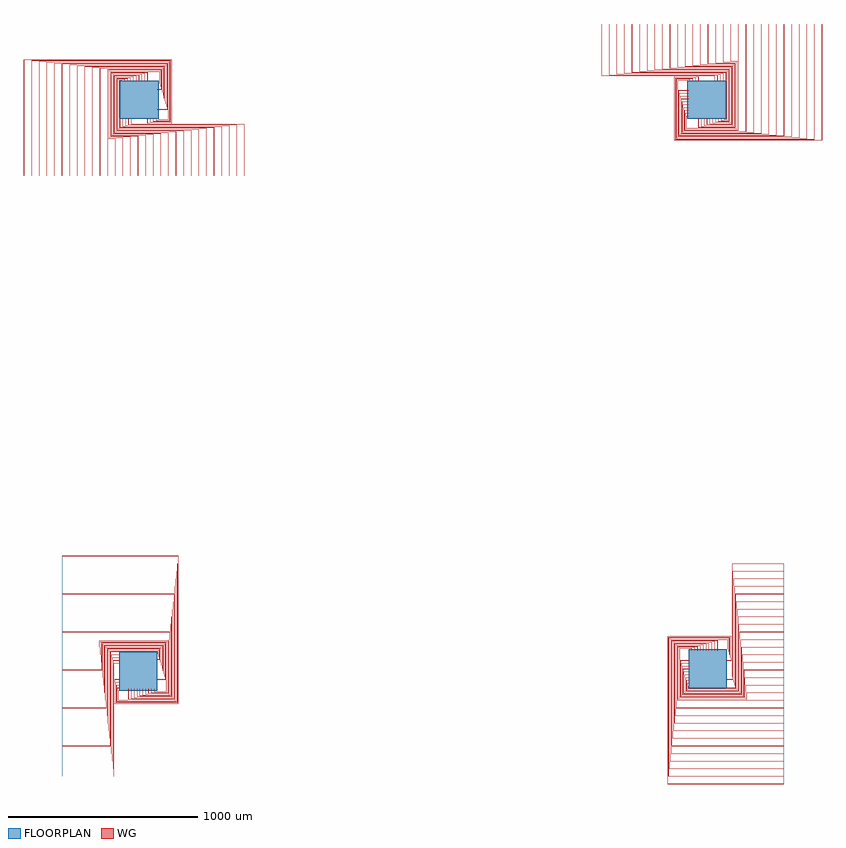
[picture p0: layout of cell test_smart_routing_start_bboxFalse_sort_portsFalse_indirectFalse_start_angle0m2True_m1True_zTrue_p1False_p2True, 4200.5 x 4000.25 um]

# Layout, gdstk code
import gdstk
lib = gdstk.Library(unit=1e-6, precision=1e-09)
def R(c, l, rs):  # rectangles x0, y0, x1, y1
    for r in rs: c.add(gdstk.rectangle(r[:2], r[2:], *l))
def P(c, l, *ps):  # polygons
    for p in ps: c.add(gdstk.Polygon(p, *l))
WG = (1, 0)
FLOORPLAN = (10, 0)

test_smart_routing_start = lib.new_cell('test_smart_routing_start_bboxFalse_sort_portsFalse_indirectFalse_start_angle0m2True_m1True_zTrue_p1False_p2True')
P(test_smart_routing_start, WG, [(2822.25,2787.5),(2822.25,3122.5),(2950.25,3122.5),(2950.25,3100),(2949.75,3100),(2949.75,3122),(2822.75,3122),(2822.75,2788),(3599.75,2788),(3599.75,3400),(3600.25,3400),(3600.25,2787.5)],
  [(2826.75,2792),(2826.75,3118),(2935.25,3118),(2935.25,3100),(2934.75,3100),(2934.75,3117.5),(2827.25,3117.5),(2827.25,2792.5),(3559.75,2792.5),(3559.75,3400),(3560.25,3400),(3560.25,2792)],
  [(2831.25,2796.5),(2831.25,3113.5),(2920.25,3113.5),(2920.25,3100),(2919.75,3100),(2919.75,3113),(2831.75,3113),(2831.75,2797),(3519.75,2797),(3519.75,3400),(3520.25,3400),(3520.25,2796.5)],
  [(2835.75,2801),(2835.75,3109),(2905.25,3109),(2905.25,3100),(2904.75,3100),(2904.75,3108.5),(2836.25,3108.5),(2836.25,2801.5),(3479.75,2801.5),(3479.75,3400),(3480.25,3400),(3480.25,2801)],
  [(2840.25,2805.5),(2840.25,3104.5),(2890.25,3104.5),(2890.25,3100),(2889.75,3100),(2889.75,3104),(2840.75,3104),(2840.75,2806),(3439.75,2806),(3439.75,3400),(3440.25,3400),(3440.25,2805.5)],
  [(2844.75,2810),(2844.75,3050.25),(2900,3050.25),(2900,3049.75),(2845.25,3049.75),(2845.25,2810.5),(3399.75,2810.5),(3399.75,3400),(3400.25,3400),(3400.25,2810)],
  [(2849.25,2814.5),(2849.25,3035.25),(2900,3035.25),(2900,3034.75),(2849.75,3034.75),(2849.75,2815),(3359.75,2815),(3359.75,3400),(3360.25,3400),(3360.25,2814.5)],
  [(2853.75,2819),(2853.75,3020.25),(2900,3020.25),(2900,3019.75),(2854.25,3019.75),(2854.25,2819.5),(3319.75,2819.5),(3319.75,3400),(3320.25,3400),(3320.25,2819)],
  [(2858.25,2823.5),(2858.25,3005.25),(2900,3005.25),(2900,3004.75),(2858.75,3004.75),(2858.75,2824),(3279.75,2824),(3279.75,3400),(3280.25,3400),(3280.25,2823.5)],
  [(2862.75,2828),(2862.75,2990.25),(2900,2990.25),(2900,2989.75),(2863.25,2989.75),(2863.25,2828.5),(3239.75,2828.5),(3239.75,3400),(3240.25,3400),(3240.25,2828)],
  [(2867.25,2832.5),(2867.25,2975.25),(2900,2975.25),(2900,2974.75),(2867.75,2974.75),(2867.75,2833),(3199.75,2833),(3199.75,3400),(3200.25,3400),(3200.25,2832.5)],
  [(2871.75,2837),(2871.75,2960.25),(2900,2960.25),(2900,2959.75),(2872.25,2959.75),(2872.25,2837.5),(3159.75,2837.5),(3159.75,3400),(3160.25,3400),(3160.25,2837)],
  [(2876.25,2841.5),(2876.25,2945.25),(2900,2945.25),(2900,2944.75),(2876.75,2944.75),(2876.75,2842),(3153.25,2842),(3153.25,3203),(3119.75,3203),(3119.75,3400),(3120.25,3400),(3120.25,3203.5),(3153.75,3203.5),(3153.75,2841.5)],
  [(2880.75,2846),(2880.75,2930.25),(2900,2930.25),(2900,2929.75),(2881.25,2929.75),(2881.25,2846.5),(3148.75,2846.5),(3148.75,3198.5),(3079.75,3198.5),(3079.75,3400),(3080.25,3400),(3080.25,3199),(3149.25,3199),(3149.25,2846)],
  [(2885.25,2850.5),(2885.25,2915.25),(2900,2915.25),(2900,2914.75),(2885.75,2914.75),(2885.75,2851),(3144.25,2851),(3144.25,3194),(3039.75,3194),(3039.75,3400),(3040.25,3400),(3040.25,3194.5),(3144.75,3194.5),(3144.75,2850.5)],
  [(2949.75,2855),(2949.75,2900),(2950.25,2900),(2950.25,2855.5),(3139.75,2855.5),(3139.75,3189.5),(2999.75,3189.5),(2999.75,3400),(3000.25,3400),(3000.25,3190),(3140.25,3190),(3140.25,2855)],
  [(2964.75,2859.5),(2964.75,2900),(2965.25,2900),(2965.25,2860),(3135.25,2860),(3135.25,3185),(2959.75,3185),(2959.75,3400),(2960.25,3400),(2960.25,3185.5),(3135.75,3185.5),(3135.75,2859.5)],
  [(2979.75,2864),(2979.75,2900),(2980.25,2900),(2980.25,2864.5),(3130.75,2864.5),(3130.75,3180.5),(2919.75,3180.5),(2919.75,3400),(2920.25,3400),(2920.25,3181),(3131.25,3181),(3131.25,2864)],
  [(2994.75,2868.5),(2994.75,2900),(2995.25,2900),(2995.25,2869),(3126.25,2869),(3126.25,3176),(2879.75,3176),(2879.75,3400),(2880.25,3400),(2880.25,3176.5),(3126.75,3176.5),(3126.75,2868.5)],
  [(3009.75,2873),(3009.75,2900),(3010.25,2900),(3010.25,2873.5),(3121.75,2873.5),(3121.75,3171.5),(2839.75,3171.5),(2839.75,3400),(2840.25,3400),(2840.25,3172),(3122.25,3172),(3122.25,2873)],
  [(3024.75,2877.5),(3024.75,2900),(3025.25,2900),(3025.25,2878),(3117.25,2878),(3117.25,3167),(2799.75,3167),(2799.75,3400),(2800.25,3400),(2800.25,3167.5),(3117.75,3167.5),(3117.75,2877.5)],
  [(3039.75,2882),(3039.75,2900),(3040.25,2900),(3040.25,2882.5),(3112.75,2882.5),(3112.75,3162.5),(2759.75,3162.5),(2759.75,3400),(2760.25,3400),(2760.25,3163),(3113.25,3163),(3113.25,2882)],
  [(3054.75,2886.5),(3054.75,2900),(3055.25,2900),(3055.25,2887),(3108.25,2887),(3108.25,3158),(2719.75,3158),(2719.75,3400),(2720.25,3400),(2720.25,3158.5),(3108.75,3158.5),(3108.75,2886.5)],
  [(3069.75,2891),(3069.75,2900),(3070.25,2900),(3070.25,2891.5),(3103.75,2891.5),(3103.75,3153.5),(2679.75,3153.5),(2679.75,3400),(2680.25,3400),(2680.25,3154),(3104.25,3154),(3104.25,2891)],
  [(3084.75,2895.5),(3084.75,2900),(3085.25,2900),(3085.25,2896),(3099.25,2896),(3099.25,3149),(2639.75,3149),(2639.75,3400),(2640.25,3400),(2640.25,3149.5),(3099.75,3149.5),(3099.75,2895.5)],
  [(3034.75,3100),(3034.75,3126.5),(2439.75,3126.5),(2439.75,3400),(2440.25,3400),(2440.25,3127),(3035.25,3127),(3035.25,3100)],
  [(3049.75,3100),(3049.75,3131),(2479.75,3131),(2479.75,3400),(2480.25,3400),(2480.25,3131.5),(3050.25,3131.5),(3050.25,3100)],
  [(3064.75,3100),(3064.75,3135.5),(2519.75,3135.5),(2519.75,3400),(2520.25,3400),(2520.25,3136),(3065.25,3136),(3065.25,3100)],
  [(3079.75,3100),(3079.75,3140),(2559.75,3140),(2559.75,3400),(2560.25,3400),(2560.25,3140.5),(3080.25,3140.5),(3080.25,3100)],
  [(3094.75,3100),(3094.75,3144.5),(2599.75,3144.5),(2599.75,3400),(2600.25,3400),(2600.25,3145),(3095.25,3145),(3095.25,3100)],
  [(-600.25,2600),(-600.25,3212.5),(177.75,3212.5),(177.75,2877.5),(49.75,2877.5),(49.75,2900),(50.25,2900),(50.25,2878),(177.25,2878),(177.25,3212),(-599.75,3212),(-599.75,2600)],
  [(-560.25,2600),(-560.25,3208),(173.25,3208),(173.25,2882),(64.75,2882),(64.75,2900),(65.25,2900),(65.25,2882.5),(172.75,2882.5),(172.75,3207.5),(-559.75,3207.5),(-559.75,2600)],
  [(-520.25,2600),(-520.25,3203.5),(168.75,3203.5),(168.75,2886.5),(79.75,2886.5),(79.75,2900),(80.25,2900),(80.25,2887),(168.25,2887),(168.25,3203),(-519.75,3203),(-519.75,2600)],
  [(-480.25,2600),(-480.25,3199),(164.25,3199),(164.25,2891),(94.75,2891),(94.75,2900),(95.25,2900),(95.25,2891.5),(163.75,2891.5),(163.75,3198.5),(-479.75,3198.5),(-479.75,2600)],
  [(-440.25,2600),(-440.25,3194.5),(159.75,3194.5),(159.75,2895.5),(109.75,2895.5),(109.75,2900),(110.25,2900),(110.25,2896),(159.25,2896),(159.25,3194),(-439.75,3194),(-439.75,2600)],
  [(-400.25,2600),(-400.25,3190),(155.25,3190),(155.25,2949.75),(100,2949.75),(100,2950.25),(154.75,2950.25),(154.75,3189.5),(-399.75,3189.5),(-399.75,2600)],
  [(-360.25,2600),(-360.25,3185.5),(150.75,3185.5),(150.75,2964.75),(100,2964.75),(100,2965.25),(150.25,2965.25),(150.25,3185),(-359.75,3185),(-359.75,2600)],
  [(-320.25,2600),(-320.25,3181),(146.25,3181),(146.25,2979.75),(100,2979.75),(100,2980.25),(145.75,2980.25),(145.75,3180.5),(-319.75,3180.5),(-319.75,2600)],
  [(-280.25,2600),(-280.25,3176.5),(141.75,3176.5),(141.75,2994.75),(100,2994.75),(100,2995.25),(141.25,2995.25),(141.25,3176),(-279.75,3176),(-279.75,2600)],
  [(-240.25,2600),(-240.25,3172),(137.25,3172),(137.25,3009.75),(100,3009.75),(100,3010.25),(136.75,3010.25),(136.75,3171.5),(-239.75,3171.5),(-239.75,2600)],
  [(-200.25,2600),(-200.25,3167.5),(132.75,3167.5),(132.75,3024.75),(100,3024.75),(100,3025.25),(132.25,3025.25),(132.25,3167),(-199.75,3167),(-199.75,2600)],
  [(-160.25,2600),(-160.25,3163),(128.25,3163),(128.25,3039.75),(100,3039.75),(100,3040.25),(127.75,3040.25),(127.75,3162.5),(-159.75,3162.5),(-159.75,2600)],
  [(-120.25,2600),(-120.25,2796.5),(-153.75,2796.5),(-153.75,3158.5),(123.75,3158.5),(123.75,3054.75),(100,3054.75),(100,3055.25),(123.25,3055.25),(123.25,3158),(-153.25,3158),(-153.25,2797),(-119.75,2797),(-119.75,2600)],
  [(-80.25,2600),(-80.25,2801),(-149.25,2801),(-149.25,3154),(119.25,3154),(119.25,3069.75),(100,3069.75),(100,3070.25),(118.75,3070.25),(118.75,3153.5),(-148.75,3153.5),(-148.75,2801.5),(-79.75,2801.5),(-79.75,2600)],
  [(-40.25,2600),(-40.25,2805.5),(-144.75,2805.5),(-144.75,3149.5),(114.75,3149.5),(114.75,3084.75),(100,3084.75),(100,3085.25),(114.25,3085.25),(114.25,3149),(-144.25,3149),(-144.25,2806),(-39.75,2806),(-39.75,2600)],
  [(-0.25,2600),(-0.25,2810),(-140.25,2810),(-140.25,3145),(50.25,3145),(50.25,3100),(49.75,3100),(49.75,3144.5),(-139.75,3144.5),(-139.75,2810.5),(0.25,2810.5),(0.25,2600)],
  [(39.75,2600),(39.75,2814.5),(-135.75,2814.5),(-135.75,3140.5),(35.25,3140.5),(35.25,3100),(34.75,3100),(34.75,3140),(-135.25,3140),(-135.25,2815),(40.25,2815),(40.25,2600)],
  [(79.75,2600),(79.75,2819),(-131.25,2819),(-131.25,3136),(20.25,3136),(20.25,3100),(19.75,3100),(19.75,3135.5),(-130.75,3135.5),(-130.75,2819.5),(80.25,2819.5),(80.25,2600)],
  [(119.75,2600),(119.75,2823.5),(-126.75,2823.5),(-126.75,3131.5),(5.25,3131.5),(5.25,3100),(4.75,3100),(4.75,3131),(-126.25,3131),(-126.25,2824),(120.25,2824),(120.25,2600)],
  [(159.75,2600),(159.75,2828),(-122.25,2828),(-122.25,3127),(-9.75,3127),(-9.75,3100),(-10.25,3100),(-10.25,3126.5),(-121.75,3126.5),(-121.75,2828.5),(160.25,2828.5),(160.25,2600)],
  [(199.75,2600),(199.75,2832.5),(-117.75,2832.5),(-117.75,3122.5),(-24.75,3122.5),(-24.75,3100),(-25.25,3100),(-25.25,3122),(-117.25,3122),(-117.25,2833),(200.25,2833),(200.25,2600)],
  [(239.75,2600),(239.75,2837),(-113.25,2837),(-113.25,3118),(-39.75,3118),(-39.75,3100),(-40.25,3100),(-40.25,3117.5),(-112.75,3117.5),(-112.75,2837.5),(240.25,2837.5),(240.25,2600)],
  [(279.75,2600),(279.75,2841.5),(-108.75,2841.5),(-108.75,3113.5),(-54.75,3113.5),(-54.75,3100),(-55.25,3100),(-55.25,3113),(-108.25,3113),(-108.25,2842),(280.25,2842),(280.25,2600)],
  [(319.75,2600),(319.75,2846),(-104.25,2846),(-104.25,3109),(-69.75,3109),(-69.75,3100),(-70.25,3100),(-70.25,3108.5),(-103.75,3108.5),(-103.75,2846.5),(320.25,2846.5),(320.25,2600)],
  [(359.75,2600),(359.75,2850.5),(-99.75,2850.5),(-99.75,3104.5),(-84.75,3104.5),(-84.75,3100),(-85.25,3100),(-85.25,3104),(-99.25,3104),(-99.25,2851),(360.25,2851),(360.25,2600)],
  [(559.75,2600),(559.75,2873),(-35.25,2873),(-35.25,2900),(-34.75,2900),(-34.75,2873.5),(560.25,2873.5),(560.25,2600)],
  [(519.75,2600),(519.75,2868.5),(-50.25,2868.5),(-50.25,2900),(-49.75,2900),(-49.75,2869),(520.25,2869),(520.25,2600)],
  [(479.75,2600),(479.75,2864),(-65.25,2864),(-65.25,2900),(-64.75,2900),(-64.75,2864.5),(480.25,2864.5),(480.25,2600)],
  [(439.75,2600),(439.75,2859.5),(-80.25,2859.5),(-80.25,2900),(-79.75,2900),(-79.75,2860),(440.25,2860),(440.25,2600)],
  [(399.75,2600),(399.75,2855),(-95.25,2855),(-95.25,2900),(-94.75,2900),(-94.75,2855.5),(400.25,2855.5),(400.25,2600)],
  [(-122.5,-177.75),(-122.5,-49.75),(-100,-49.75),(-100,-50.25),(-122,-50.25),(-122,-177.25),(212,-177.25),(212,599.75),(-400,599.75),(-400,600.25),(212.5,600.25),(212.5,-177.75)],
  [(-118,-173.25),(-118,-64.75),(-100,-64.75),(-100,-65.25),(-117.5,-65.25),(-117.5,-172.75),(207.5,-172.75),(207.5,559.75),(-400,559.75),(-400,560.25),(208,560.25),(208,-173.25)],
  [(-113.5,-168.75),(-113.5,-79.75),(-100,-79.75),(-100,-80.25),(-113,-80.25),(-113,-168.25),(203,-168.25),(203,519.75),(-400,519.75),(-400,520.25),(203.5,520.25),(203.5,-168.75)],
  [(-109,-164.25),(-109,-94.75),(-100,-94.75),(-100,-95.25),(-108.5,-95.25),(-108.5,-163.75),(198.5,-163.75),(198.5,479.75),(-400,479.75),(-400,480.25),(199,480.25),(199,-164.25)],
  [(-104.5,-159.75),(-104.5,-109.75),(-100,-109.75),(-100,-110.25),(-104,-110.25),(-104,-159.25),(194,-159.25),(194,439.75),(-400,439.75),(-400,440.25),(194.5,440.25),(194.5,-159.75)],
  [(-50.25,-155.25),(-50.25,-100),(-49.75,-100),(-49.75,-154.75),(189.5,-154.75),(189.5,399.75),(-400,399.75),(-400,400.25),(190,400.25),(190,-155.25)],
  [(-35.25,-150.75),(-35.25,-100),(-34.75,-100),(-34.75,-150.25),(185,-150.25),(185,359.75),(-400,359.75),(-400,360.25),(185.5,360.25),(185.5,-150.75)],
  [(-20.25,-146.25),(-20.25,-100),(-19.75,-100),(-19.75,-145.75),(180.5,-145.75),(180.5,319.75),(-400,319.75),(-400,320.25),(181,320.25),(181,-146.25)],
  [(-5.25,-141.75),(-5.25,-100),(-4.75,-100),(-4.75,-141.25),(176,-141.25),(176,279.75),(-400,279.75),(-400,280.25),(176.5,280.25),(176.5,-141.75)],
  [(9.75,-137.25),(9.75,-100),(10.25,-100),(10.25,-136.75),(171.5,-136.75),(171.5,239.75),(-400,239.75),(-400,240.25),(172,240.25),(172,-137.25)],
  [(24.75,-132.75),(24.75,-100),(25.25,-100),(25.25,-132.25),(167,-132.25),(167,199.75),(-400,199.75),(-400,200.25),(167.5,200.25),(167.5,-132.75)],
  [(39.75,-128.25),(39.75,-100),(40.25,-100),(40.25,-127.75),(162.5,-127.75),(162.5,159.75),(-400,159.75),(-400,160.25),(163,160.25),(163,-128.25)],
  [(54.75,-123.75),(54.75,-100),(55.25,-100),(55.25,-123.25),(158,-123.25),(158,153.25),(-203,153.25),(-203,119.75),(-400,119.75),(-400,120.25),(-203.5,120.25),(-203.5,153.75),(158.5,153.75),(158.5,-123.75)],
  [(69.75,-119.25),(69.75,-100),(70.25,-100),(70.25,-118.75),(153.5,-118.75),(153.5,148.75),(-198.5,148.75),(-198.5,79.75),(-400,79.75),(-400,80.25),(-199,80.25),(-199,149.25),(154,149.25),(154,-119.25)],
  [(84.75,-114.75),(84.75,-100),(85.25,-100),(85.25,-114.25),(149,-114.25),(149,144.25),(-194,144.25),(-194,39.75),(-400,39.75),(-400,40.25),(-194.5,40.25),(-194.5,144.75),(149.5,144.75),(149.5,-114.75)],
  [(100,-50.25),(100,-49.75),(144.5,-49.75),(144.5,139.75),(-189.5,139.75),(-189.5,-0.25),(-400,-0.25),(-400,0.25),(-190,0.25),(-190,140.25),(145,140.25),(145,-50.25)],
  [(-400,-40.25),(-400,-39.75),(-185.5,-39.75),(-185.5,135.75),(140.5,135.75),(140.5,-35.25),(100,-35.25),(100,-34.75),(140,-34.75),(140,135.25),(-185,135.25),(-185,-40.25)],
  [(-400,-80.25),(-400,-79.75),(-181,-79.75),(-181,131.25),(136,131.25),(136,-20.25),(100,-20.25),(100,-19.75),(135.5,-19.75),(135.5,130.75),(-180.5,130.75),(-180.5,-80.25)],
  [(-400,-120.25),(-400,-119.75),(-176.5,-119.75),(-176.5,126.75),(131.5,126.75),(131.5,-5.25),(100,-5.25),(100,-4.75),(131,-4.75),(131,126.25),(-176,126.25),(-176,-120.25)],
  [(-400,-160.25),(-400,-159.75),(-172,-159.75),(-172,122.25),(127,122.25),(127,9.75),(100,9.75),(100,10.25),(126.5,10.25),(126.5,121.75),(-171.5,121.75),(-171.5,-160.25)],
  [(-400,-200.25),(-400,-199.75),(-167.5,-199.75),(-167.5,117.75),(122.5,117.75),(122.5,24.75),(100,24.75),(100,25.25),(122,25.25),(122,117.25),(-167,117.25),(-167,-200.25)],
  [(-400,-240.25),(-400,-239.75),(-163,-239.75),(-163,113.25),(118,113.25),(118,39.75),(100,39.75),(100,40.25),(117.5,40.25),(117.5,112.75),(-162.5,112.75),(-162.5,-240.25)],
  [(-400,-280.25),(-400,-279.75),(-158.5,-279.75),(-158.5,108.75),(113.5,108.75),(113.5,54.75),(100,54.75),(100,55.25),(113,55.25),(113,108.25),(-158,108.25),(-158,-280.25)],
  [(-400,-320.25),(-400,-319.75),(-154,-319.75),(-154,104.25),(109,104.25),(109,69.75),(100,69.75),(100,70.25),(108.5,70.25),(108.5,103.75),(-153.5,103.75),(-153.5,-320.25)],
  [(-400,-360.25),(-400,-359.75),(-149.5,-359.75),(-149.5,99.75),(104.5,99.75),(104.5,84.75),(100,84.75),(100,85.25),(104,85.25),(104,99.25),(-149,99.25),(-149,-360.25)],
  [(-400,-560.25),(-400,-559.75),(-127,-559.75),(-127,35.25),(-100,35.25),(-100,34.75),(-126.5,34.75),(-126.5,-560.25)],
  [(-400,-520.25),(-400,-519.75),(-131.5,-519.75),(-131.5,50.25),(-100,50.25),(-100,49.75),(-131,49.75),(-131,-520.25)],
  [(-400,-480.25),(-400,-479.75),(-136,-479.75),(-136,65.25),(-100,65.25),(-100,64.75),(-135.5,64.75),(-135.5,-480.25)],
  [(-400,-440.25),(-400,-439.75),(-140.5,-439.75),(-140.5,80.25),(-100,80.25),(-100,79.75),(-140,79.75),(-140,-440.25)],
  [(-400,-400.25),(-400,-399.75),(-145,-399.75),(-145,95.25),(-100,95.25),(-100,94.75),(-144.5,94.75),(-144.5,-400.25)],
  [(2787.5,-600.25),(2787.5,177.75),(3122.5,177.75),(3122.5,49.75),(3100,49.75),(3100,50.25),(3122,50.25),(3122,177.25),(2788,177.25),(2788,-599.75),(3400,-599.75),(3400,-600.25)],
  [(2792,-560.25),(2792,173.25),(3118,173.25),(3118,64.75),(3100,64.75),(3100,65.25),(3117.5,65.25),(3117.5,172.75),(2792.5,172.75),(2792.5,-559.75),(3400,-559.75),(3400,-560.25)],
  [(2796.5,-520.25),(2796.5,168.75),(3113.5,168.75),(3113.5,79.75),(3100,79.75),(3100,80.25),(3113,80.25),(3113,168.25),(2797,168.25),(2797,-519.75),(3400,-519.75),(3400,-520.25)],
  [(2801,-480.25),(2801,164.25),(3109,164.25),(3109,94.75),(3100,94.75),(3100,95.25),(3108.5,95.25),(3108.5,163.75),(2801.5,163.75),(2801.5,-479.75),(3400,-479.75),(3400,-480.25)],
  [(2805.5,-440.25),(2805.5,159.75),(3104.5,159.75),(3104.5,109.75),(3100,109.75),(3100,110.25),(3104,110.25),(3104,159.25),(2806,159.25),(2806,-439.75),(3400,-439.75),(3400,-440.25)],
  [(2810,-400.25),(2810,155.25),(3050.25,155.25),(3050.25,100),(3049.75,100),(3049.75,154.75),(2810.5,154.75),(2810.5,-399.75),(3400,-399.75),(3400,-400.25)],
  [(2814.5,-360.25),(2814.5,150.75),(3035.25,150.75),(3035.25,100),(3034.75,100),(3034.75,150.25),(2815,150.25),(2815,-359.75),(3400,-359.75),(3400,-360.25)],
  [(2819,-320.25),(2819,146.25),(3020.25,146.25),(3020.25,100),(3019.75,100),(3019.75,145.75),(2819.5,145.75),(2819.5,-319.75),(3400,-319.75),(3400,-320.25)],
  [(2823.5,-280.25),(2823.5,141.75),(3005.25,141.75),(3005.25,100),(3004.75,100),(3004.75,141.25),(2824,141.25),(2824,-279.75),(3400,-279.75),(3400,-280.25)],
  [(2828,-240.25),(2828,137.25),(2990.25,137.25),(2990.25,100),(2989.75,100),(2989.75,136.75),(2828.5,136.75),(2828.5,-239.75),(3400,-239.75),(3400,-240.25)],
  [(2832.5,-200.25),(2832.5,132.75),(2975.25,132.75),(2975.25,100),(2974.75,100),(2974.75,132.25),(2833,132.25),(2833,-199.75),(3400,-199.75),(3400,-200.25)],
  [(2837,-160.25),(2837,128.25),(2960.25,128.25),(2960.25,100),(2959.75,100),(2959.75,127.75),(2837.5,127.75),(2837.5,-159.75),(3400,-159.75),(3400,-160.25)],
  [(2841.5,-153.75),(2841.5,123.75),(2945.25,123.75),(2945.25,100),(2944.75,100),(2944.75,123.25),(2842,123.25),(2842,-153.25),(3203,-153.25),(3203,-119.75),(3400,-119.75),(3400,-120.25),(3203.5,-120.25),(3203.5,-153.75)],
  [(2846,-149.25),(2846,119.25),(2930.25,119.25),(2930.25,100),(2929.75,100),(2929.75,118.75),(2846.5,118.75),(2846.5,-148.75),(3198.5,-148.75),(3198.5,-79.75),(3400,-79.75),(3400,-80.25),(3199,-80.25),(3199,-149.25)],
  [(2850.5,-144.75),(2850.5,114.75),(2915.25,114.75),(2915.25,100),(2914.75,100),(2914.75,114.25),(2851,114.25),(2851,-144.25),(3194,-144.25),(3194,-39.75),(3400,-39.75),(3400,-40.25),(3194.5,-40.25),(3194.5,-144.75)],
  [(2855,-140.25),(2855,50.25),(2900,50.25),(2900,49.75),(2855.5,49.75),(2855.5,-139.75),(3189.5,-139.75),(3189.5,0.25),(3400,0.25),(3400,-0.25),(3190,-0.25),(3190,-140.25)],
  [(2859.5,-135.75),(2859.5,35.25),(2900,35.25),(2900,34.75),(2860,34.75),(2860,-135.25),(3185,-135.25),(3185,40.25),(3400,40.25),(3400,39.75),(3185.5,39.75),(3185.5,-135.75)],
  [(2864,-131.25),(2864,20.25),(2900,20.25),(2900,19.75),(2864.5,19.75),(2864.5,-130.75),(3180.5,-130.75),(3180.5,80.25),(3400,80.25),(3400,79.75),(3181,79.75),(3181,-131.25)],
  [(2868.5,-126.75),(2868.5,5.25),(2900,5.25),(2900,4.75),(2869,4.75),(2869,-126.25),(3176,-126.25),(3176,120.25),(3400,120.25),(3400,119.75),(3176.5,119.75),(3176.5,-126.75)],
  [(2873,-122.25),(2873,-9.75),(2900,-9.75),(2900,-10.25),(2873.5,-10.25),(2873.5,-121.75),(3171.5,-121.75),(3171.5,160.25),(3400,160.25),(3400,159.75),(3172,159.75),(3172,-122.25)],
  [(2877.5,-117.75),(2877.5,-24.75),(2900,-24.75),(2900,-25.25),(2878,-25.25),(2878,-117.25),(3167,-117.25),(3167,200.25),(3400,200.25),(3400,199.75),(3167.5,199.75),(3167.5,-117.75)],
  [(2882,-113.25),(2882,-39.75),(2900,-39.75),(2900,-40.25),(2882.5,-40.25),(2882.5,-112.75),(3162.5,-112.75),(3162.5,240.25),(3400,240.25),(3400,239.75),(3163,239.75),(3163,-113.25)],
  [(2886.5,-108.75),(2886.5,-54.75),(2900,-54.75),(2900,-55.25),(2887,-55.25),(2887,-108.25),(3158,-108.25),(3158,280.25),(3400,280.25),(3400,279.75),(3158.5,279.75),(3158.5,-108.75)],
  [(2891,-104.25),(2891,-69.75),(2900,-69.75),(2900,-70.25),(2891.5,-70.25),(2891.5,-103.75),(3153.5,-103.75),(3153.5,320.25),(3400,320.25),(3400,319.75),(3154,319.75),(3154,-104.25)],
  [(2895.5,-99.75),(2895.5,-84.75),(2900,-84.75),(2900,-85.25),(2896,-85.25),(2896,-99.25),(3149,-99.25),(3149,360.25),(3400,360.25),(3400,359.75),(3149.5,359.75),(3149.5,-99.75)],
  [(3100,-35.25),(3100,-34.75),(3126.5,-34.75),(3126.5,560.25),(3400,560.25),(3400,559.75),(3127,559.75),(3127,-35.25)],
  [(3100,-50.25),(3100,-49.75),(3131,-49.75),(3131,520.25),(3400,520.25),(3400,519.75),(3131.5,519.75),(3131.5,-50.25)],
  [(3100,-65.25),(3100,-64.75),(3135.5,-64.75),(3135.5,480.25),(3400,480.25),(3400,479.75),(3136,479.75),(3136,-65.25)],
  [(3100,-80.25),(3100,-79.75),(3140,-79.75),(3140,440.25),(3400,440.25),(3400,439.75),(3140.5,439.75),(3140.5,-80.25)],
  [(3100,-95.25),(3100,-94.75),(3144.5,-94.75),(3144.5,400.25),(3400,400.25),(3400,399.75),(3145,399.75),(3145,-95.25)])
R(test_smart_routing_start, FLOORPLAN, [(-100,-110,100,95), (2900,-95,3100,110), (-95,2900,110,3100), (2890,2900,3095,3100)])
P(test_smart_routing_start, FLOORPLAN, [(-400,-560),(-400,600),(-400,600),(-400,-560)],
  [(-600,2600),(-600,2600),(560,2600),(560,2600)],
  [(3400,-600),(3400,560),(3400,560),(3400,-600)],
  [(2440,3400),(2440,3400),(3600,3400),(3600,3400)])

lib.write_gds('test_smart_routing_start_bboxFalse_sort_portsFalse_indirectFalse_start_angle0m2True_m1True_zTrue_p1False_p2True.gds')
